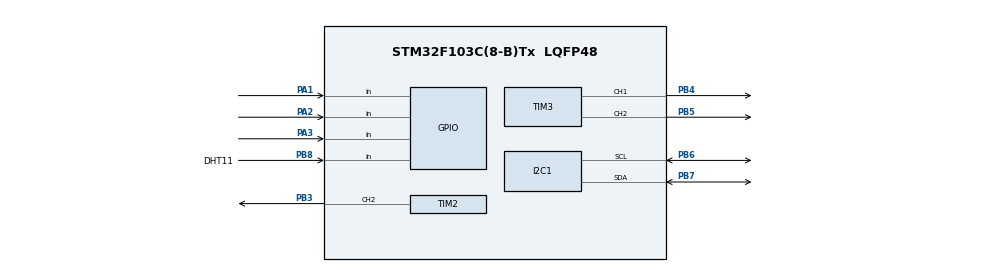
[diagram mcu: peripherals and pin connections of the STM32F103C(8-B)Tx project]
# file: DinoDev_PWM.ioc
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Mcu.Family=STM32F1
Mcu.Name=STM32F103C(8-B)Tx
Mcu.Package=LQFP48
NVIC.PriorityGroup=NVIC_PRIORITYGROUP_4
PA1.Signal=GPIO_Input
PA13.Mode=Serial_Wire
PA13.Signal=SYS_JTMS-SWDIO
PA14.Mode=Serial_Wire
PA14.Signal=SYS_JTCK-SWCLK
PA2.Signal=GPIO_Input
PA3.Signal=GPIO_Input
PB3.Signal=S_TIM2_CH2
PB4.Signal=S_TIM3_CH1
PB5.Signal=S_TIM3_CH2
PB6.Mode=I2C
PB6.Signal=I2C1_SCL
PB7.Mode=I2C
PB7.Signal=I2C1_SDA
PB8.GPIO_Label=DHT11
PB8.Signal=GPIO_Input
PD0-OSC_IN.Mode=HSE-External-Oscillator
PD0-OSC_IN.Signal=RCC_OSC_IN
PD1-OSC_OUT.Mode=HSE-External-Oscillator
PD1-OSC_OUT.Signal=RCC_OSC_OUT
ProjectManager.HeapSize=0x200
ProjectManager.StackSize=0x400
ProjectManager.TargetToolchain=STM32CubeIDE
RCC.APB1Freq_Value=8000000
RCC.APB2Freq_Value=8000000
SH.S_TIM2_CH2.0=TIM2_CH2,PWM Generation2 CH2
SH.S_TIM3_CH1.0=TIM3_CH1,PWM Generation1 CH1
SH.S_TIM3_CH2.0=TIM3_CH2,PWM Generation2 CH2
TIM2.Channel-PWM\ Generation2\ CH2=TIM_CHANNEL_2
TIM3.Channel-PWM\ Generation1\ CH1=TIM_CHANNEL_1
TIM3.Channel-PWM\ Generation2\ CH2=TIM_CHANNEL_2
board=custom

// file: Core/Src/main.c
/* USER CODE BEGIN Header */
/**
 ******************************************************************************
 * @file           : main.c
 * @brief          : Main program body
 ******************************************************************************
 * @attention
 *
 * Copyright (c) 2023 STMicroelectronics.
 * All rights reserved.
 *
 * This software is licensed under terms that can be found in the LICENSE file
 * in the root directory of this software component.
 * If no LICENSE file comes with this software, it is provided AS-IS.
 *
 ******************************************************************************
 */
/* USER CODE END Header */
#include "main.h"

I2C_HandleTypeDef hi2c1;

TIM_HandleTypeDef htim2;
TIM_HandleTypeDef htim3;

void SystemClock_Config(void);
static void MX_GPIO_Init(void);
static void MX_I2C1_Init(void);
static void MX_TIM2_Init(void);
static void MX_TIM3_Init(void);

int main(void)
{
  /* USER CODE BEGIN 1 */
	int32_t CH1_DC = 0;
  /* USER CODE END 1 */

  /* MCU Configuration--------------------------------------------------------*/

  /* Reset of all peripherals, Initializes the Flash interface and the Systick. */
  HAL_Init();

  /* Configure the system clock */
  SystemClock_Config();

  /* Initialize all configured peripherals */
  MX_GPIO_Init();
  MX_I2C1_Init();
  MX_TIM2_Init();
  MX_TIM3_Init();
  /* USER CODE BEGIN 2 */
	HAL_TIM_PWM_Start(&htim2, TIM_CHANNEL_2);
	HAL_TIM_PWM_Start(&htim3, TIM_CHANNEL_1);
	HAL_TIM_PWM_Start(&htim3, TIM_CHANNEL_2);
  /* USER CODE END 2 */

  /* Infinite loop */
  /* USER CODE BEGIN WHILE */
	while (1)
	{

		while (CH1_DC < 65535)
		{
			TIM2->CCR2 = CH1_DC;
			TIM3->CCR1 = CH1_DC;
			TIM3->CCR2 = CH1_DC;
			CH1_DC += 70;
			HAL_Delay(5);
		}
		while (CH1_DC > 0)
		{
			TIM2->CCR2 = CH1_DC;
			TIM3->CCR1 = CH1_DC;
			TIM3->CCR2 = CH1_DC;
			CH1_DC -= 70;
			HAL_Delay(5);
		}
    /* USER CODE END WHILE */

	}
}

void SystemClock_Config(void)
{
  RCC_OscInitTypeDef RCC_OscInitStruct = {0};
  RCC_ClkInitTypeDef RCC_ClkInitStruct = {0};

  /** Initializes the RCC Oscillators according to the specified parameters
  * in the RCC_OscInitTypeDef structure.
  */
  RCC_OscInitStruct.OscillatorType = RCC_OSCILLATORTYPE_HSI;
  RCC_OscInitStruct.HSIState = RCC_HSI_ON;
  RCC_OscInitStruct.HSICalibrationValue = RCC_HSICALIBRATION_DEFAULT;
  RCC_OscInitStruct.PLL.PLLState = RCC_PLL_NONE;
  if (HAL_RCC_OscConfig(&RCC_OscInitStruct) != HAL_OK)
  {
    Error_Handler();
  }

  /** Initializes the CPU, AHB and APB buses clocks
  */
  RCC_ClkInitStruct.ClockType = RCC_CLOCKTYPE_HCLK|RCC_CLOCKTYPE_SYSCLK
                              |RCC_CLOCKTYPE_PCLK1|RCC_CLOCKTYPE_PCLK2;
  RCC_ClkInitStruct.SYSCLKSource = RCC_SYSCLKSOURCE_HSI;
  RCC_ClkInitStruct.AHBCLKDivider = RCC_SYSCLK_DIV1;
  RCC_ClkInitStruct.APB1CLKDivider = RCC_HCLK_DIV1;
  RCC_ClkInitStruct.APB2CLKDivider = RCC_HCLK_DIV1;

  if (HAL_RCC_ClockConfig(&RCC_ClkInitStruct, FLASH_LATENCY_0) != HAL_OK)
  {
    Error_Handler();
  }
}

static void MX_I2C1_Init(void)
{

  hi2c1.Instance = I2C1;
  hi2c1.Init.ClockSpeed = 100000;
  hi2c1.Init.DutyCycle = I2C_DUTYCYCLE_2;
  hi2c1.Init.OwnAddress1 = 0;
  hi2c1.Init.AddressingMode = I2C_ADDRESSINGMODE_7BIT;
  hi2c1.Init.DualAddressMode = I2C_DUALADDRESS_DISABLE;
  hi2c1.Init.OwnAddress2 = 0;
  hi2c1.Init.GeneralCallMode = I2C_GENERALCALL_DISABLE;
  hi2c1.Init.NoStretchMode = I2C_NOSTRETCH_DISABLE;
  if (HAL_I2C_Init(&hi2c1) != HAL_OK)
  {
    Error_Handler();
  }

}

static void MX_TIM2_Init(void)
{

  TIM_MasterConfigTypeDef sMasterConfig = {0};
  TIM_OC_InitTypeDef sConfigOC = {0};

  htim2.Instance = TIM2;
  htim2.Init.Prescaler = 0;
  htim2.Init.CounterMode = TIM_COUNTERMODE_UP;
  htim2.Init.Period = 65535;
  htim2.Init.ClockDivision = TIM_CLOCKDIVISION_DIV1;
  htim2.Init.AutoReloadPreload = TIM_AUTORELOAD_PRELOAD_DISABLE;
  if (HAL_TIM_PWM_Init(&htim2) != HAL_OK)
  {
    Error_Handler();
  }
  sMasterConfig.MasterOutputTrigger = TIM_TRGO_RESET;
  sMasterConfig.MasterSlaveMode = TIM_MASTERSLAVEMODE_DISABLE;
  if (HAL_TIMEx_MasterConfigSynchronization(&htim2, &sMasterConfig) != HAL_OK)
  {
    Error_Handler();
  }
  sConfigOC.OCMode = TIM_OCMODE_PWM1;
  sConfigOC.Pulse = 0;
  sConfigOC.OCPolarity = TIM_OCPOLARITY_HIGH;
  sConfigOC.OCFastMode = TIM_OCFAST_DISABLE;
  if (HAL_TIM_PWM_ConfigChannel(&htim2, &sConfigOC, TIM_CHANNEL_2) != HAL_OK)
  {
    Error_Handler();
  }
  HAL_TIM_MspPostInit(&htim2);

}

static void MX_TIM3_Init(void)
{

  TIM_MasterConfigTypeDef sMasterConfig = {0};
  TIM_OC_InitTypeDef sConfigOC = {0};

  htim3.Instance = TIM3;
  htim3.Init.Prescaler = 0;
  htim3.Init.CounterMode = TIM_COUNTERMODE_UP;
  htim3.Init.Period = 65535;
  htim3.Init.ClockDivision = TIM_CLOCKDIVISION_DIV1;
  htim3.Init.AutoReloadPreload = TIM_AUTORELOAD_PRELOAD_DISABLE;
  if (HAL_TIM_PWM_Init(&htim3) != HAL_OK)
  {
    Error_Handler();
  }
  sMasterConfig.MasterOutputTrigger = TIM_TRGO_RESET;
  sMasterConfig.MasterSlaveMode = TIM_MASTERSLAVEMODE_DISABLE;
  if (HAL_TIMEx_MasterConfigSynchronization(&htim3, &sMasterConfig) != HAL_OK)
  {
    Error_Handler();
  }
  sConfigOC.OCMode = TIM_OCMODE_PWM1;
  sConfigOC.Pulse = 0;
  sConfigOC.OCPolarity = TIM_OCPOLARITY_HIGH;
  sConfigOC.OCFastMode = TIM_OCFAST_DISABLE;
  if (HAL_TIM_PWM_ConfigChannel(&htim3, &sConfigOC, TIM_CHANNEL_1) != HAL_OK)
  {
    Error_Handler();
  }
  if (HAL_TIM_PWM_ConfigChannel(&htim3, &sConfigOC, TIM_CHANNEL_2) != HAL_OK)
  {
    Error_Handler();
  }
  HAL_TIM_MspPostInit(&htim3);

}

static void MX_GPIO_Init(void)
{
  GPIO_InitTypeDef GPIO_InitStruct = {0};

  /* GPIO Ports Clock Enable */
  __HAL_RCC_GPIOD_CLK_ENABLE();
  __HAL_RCC_GPIOA_CLK_ENABLE();
  __HAL_RCC_GPIOB_CLK_ENABLE();

  /*Configure GPIO pins : PA1 PA2 PA3 */
  GPIO_InitStruct.Pin = GPIO_PIN_1|GPIO_PIN_2|GPIO_PIN_3;
  GPIO_InitStruct.Mode = GPIO_MODE_INPUT;
  GPIO_InitStruct.Pull = GPIO_NOPULL;
  HAL_GPIO_Init(GPIOA, &GPIO_InitStruct);

  /*Configure GPIO pin : DHT11_Pin */
  GPIO_InitStruct.Pin = DHT11_Pin;
  GPIO_InitStruct.Mode = GPIO_MODE_INPUT;
  GPIO_InitStruct.Pull = GPIO_NOPULL;
  HAL_GPIO_Init(DHT11_GPIO_Port, &GPIO_InitStruct);

}

void Error_Handler(void)
{
	__disable_irq();
	while (1)
	{
	}
}
